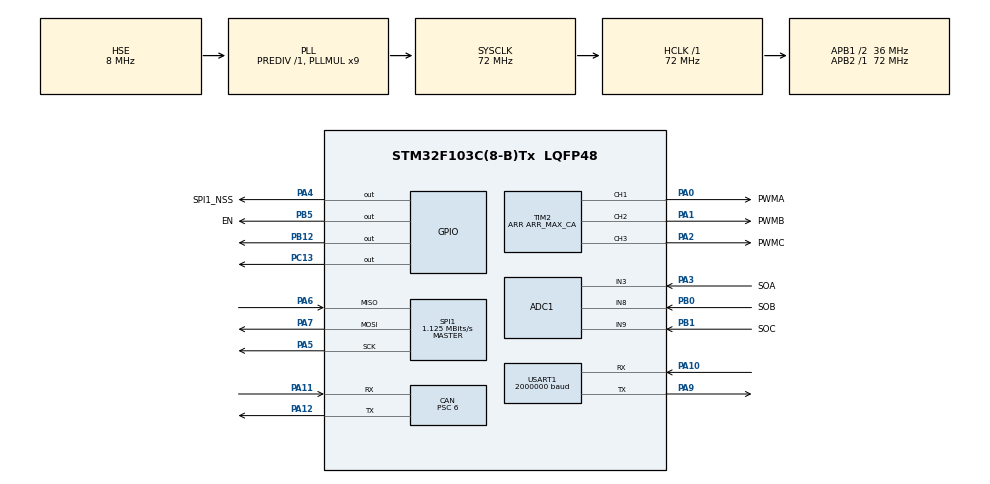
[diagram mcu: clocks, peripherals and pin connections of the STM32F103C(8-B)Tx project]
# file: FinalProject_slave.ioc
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ADC1.Channel-0\#ChannelRegularConversion=ADC_CHANNEL_3
ADC1.Channel-1\#ChannelRegularConversion=ADC_CHANNEL_8
ADC1.Channel-2\#ChannelRegularConversion=ADC_CHANNEL_9
ADC1.ContinuousConvMode=ENABLE
ADC1.NbrOfConversion=3
ADC1.NbrOfConversionFlag=1
ADC1.Rank-0\#ChannelRegularConversion=1
ADC1.Rank-1\#ChannelRegularConversion=2
ADC1.Rank-2\#ChannelRegularConversion=3
ADC1.SamplingTime-0\#ChannelRegularConversion=ADC_SAMPLETIME_239CYCLES_5
ADC1.SamplingTime-1\#ChannelRegularConversion=ADC_SAMPLETIME_239CYCLES_5
ADC1.SamplingTime-2\#ChannelRegularConversion=ADC_SAMPLETIME_239CYCLES_5
ADC1.master=1
CAN.ABOM=ENABLE
CAN.BS1=CAN_BS1_10TQ
CAN.CalculateBaudRate=499999
CAN.CalculateTimeBit=2000
CAN.CalculateTimeQuantum=166.66666666666669
CAN.NART=ENABLE
CAN.Prescaler=6
Dma.ADC1.0.Direction=DMA_PERIPH_TO_MEMORY
Dma.ADC1.0.Instance=DMA1_Channel1
Dma.ADC1.0.MemDataAlignment=DMA_MDATAALIGN_WORD
Dma.ADC1.0.MemInc=DMA_MINC_ENABLE
Dma.ADC1.0.Mode=DMA_CIRCULAR
Dma.ADC1.0.PeriphDataAlignment=DMA_PDATAALIGN_WORD
Dma.ADC1.0.PeriphInc=DMA_PINC_DISABLE
Dma.ADC1.0.Priority=DMA_PRIORITY_LOW
Dma.Request0=ADC1
Mcu.Family=STM32F1
Mcu.Name=STM32F103C(8-B)Tx
Mcu.Package=LQFP48
Mcu.UserConstants=ARR_MAX_CA,1440;ARR_MAX,2880
NVIC.CAN1_RX1_IRQn=true\:0\:0\:false\:false\:true\:true\:true\:true
NVIC.CAN1_SCE_IRQn=true\:0\:0\:false\:false\:true\:true\:true\:true
NVIC.DMA1_Channel1_IRQn=true\:0\:0\:false\:false\:true\:false\:true\:true
NVIC.PriorityGroup=NVIC_PRIORITYGROUP_4
NVIC.USB_HP_CAN1_TX_IRQn=true\:0\:0\:false\:false\:true\:true\:true\:true
NVIC.USB_LP_CAN1_RX0_IRQn=true\:0\:0\:false\:false\:true\:true\:true\:true
PA0-WKUP.GPIO_Label=PWMA
PA0-WKUP.Signal=S_TIM2_CH1_ETR
PA1.GPIO_Label=PWMB
PA1.Signal=S_TIM2_CH2
PA10.Mode=Asynchronous
PA10.Signal=USART1_RX
PA11.Mode=CAN_Activate
PA11.Signal=CAN_RX
PA12.Mode=CAN_Activate
PA12.Signal=CAN_TX
PA13.Mode=Serial_Wire
PA13.Signal=SYS_JTMS-SWDIO
PA14.Mode=Serial_Wire
PA14.Signal=SYS_JTCK-SWCLK
PA2.GPIO_Label=PWMC
PA2.Signal=S_TIM2_CH3
PA3.GPIO_Label=SOA
PA3.Signal=ADCx_IN3
PA4.GPIO_Label=SPI1_NSS
PA4.Signal=GPIO_Output
PA5.Mode=Full_Duplex_Master
PA5.Signal=SPI1_SCK
PA6.Mode=Full_Duplex_Master
PA6.Signal=SPI1_MISO
PA7.Mode=Full_Duplex_Master
PA7.Signal=SPI1_MOSI
PA9.Mode=Asynchronous
PA9.Signal=USART1_TX
PB0.GPIO_Label=SOB
PB0.Signal=ADCx_IN8
PB1.GPIO_Label=SOC
PB1.Signal=ADCx_IN9
PB12.Signal=GPIO_Output
PB5.GPIO_Label=EN
PB5.Signal=GPIO_Output
PC13-TAMPER-RTC.Signal=GPIO_Output
PD0-OSC_IN.Mode=HSE-External-Oscillator
PD0-OSC_IN.Signal=RCC_OSC_IN
PD1-OSC_OUT.Mode=HSE-External-Oscillator
PD1-OSC_OUT.Signal=RCC_OSC_OUT
ProjectManager.HeapSize=0x200
ProjectManager.StackSize=0x400
ProjectManager.TargetToolchain=STM32CubeIDE
RCC.ADCPresc=RCC_ADCPCLK2_DIV6
RCC.AHBFreq_Value=72000000
RCC.APB1CLKDivider=RCC_HCLK_DIV2
RCC.APB1Freq_Value=36000000
RCC.APB1TimFreq_Value=72000000
RCC.APB2Freq_Value=72000000
RCC.APB2TimFreq_Value=72000000
RCC.HCLKFreq_Value=72000000
RCC.PLLMUL=RCC_PLL_MUL9
RCC.PLLSourceVirtual=RCC_PLLSOURCE_HSE
RCC.SYSCLKFreq_VALUE=72000000
RCC.SYSCLKSource=RCC_SYSCLKSOURCE_PLLCLK
RCC.USBFreq_Value=72000000
SH.ADCx_IN3.0=ADC1_IN3,IN3
SH.ADCx_IN8.0=ADC1_IN8,IN8
SH.ADCx_IN9.0=ADC1_IN9,IN9
SH.S_TIM2_CH1_ETR.0=TIM2_CH1,PWM Generation1 CH1
SH.S_TIM2_CH2.0=TIM2_CH2,PWM Generation2 CH2
SH.S_TIM2_CH3.0=TIM2_CH3,PWM Generation3 CH3
SPI1.BaudRatePrescaler=SPI_BAUDRATEPRESCALER_64
SPI1.CLKPhase=SPI_PHASE_2EDGE
SPI1.CalculateBaudRate=1.125 MBits/s
SPI1.DataSize=SPI_DATASIZE_16BIT
SPI1.Direction=SPI_DIRECTION_2LINES
SPI1.Mode=SPI_MODE_MASTER
SPI1.VirtualType=VM_MASTER
TIM2.AutoReloadPreload=TIM_AUTORELOAD_PRELOAD_ENABLE
TIM2.Channel-PWM\ Generation1\ CH1=TIM_CHANNEL_1
TIM2.Channel-PWM\ Generation2\ CH2=TIM_CHANNEL_2
TIM2.Channel-PWM\ Generation3\ CH3=TIM_CHANNEL_3
TIM2.CounterMode=TIM_COUNTERMODE_CENTERALIGNED1
TIM2.Period=ARR_MAX_CA
TIM2.TIM_MasterOutputTrigger=TIM_TRGO_UPDATE
USART1.BaudRate=2000000
USART1.VirtualMode=VM_ASYNC
VP_TIM2_VS_ClockSourceINT.Mode=Internal
board=custom

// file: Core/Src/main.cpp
/* USER CODE BEGIN Header */
/**
 ******************************************************************************
 * @file           : main.c
 * @brief          : Main program body
 ******************************************************************************
 * @attention
 *
 * Copyright (c) 2021 STMicroelectronics.
 * All rights reserved.
 *
 * This software is licensed under terms that can be found in the LICENSE file
 * in the root directory of this software component.
 * If no LICENSE file comes with this software, it is provided AS-IS.
 *
 ******************************************************************************
 */
/* USER CODE END Header */
#include "main.h"

/* USER CODE BEGIN Includes */
#include <stdio.h>   // printf function
#include <stdlib.h>
#include "math.h"
#include "string.h"
#include "motor_param.h"

#include "simpleFOC.h"
simpleFOC simpleFOC;

/* USER CODE END Includes */

ADC_HandleTypeDef hadc1;
DMA_HandleTypeDef hdma_adc1;

CAN_HandleTypeDef hcan;

SPI_HandleTypeDef hspi1;

TIM_HandleTypeDef htim2;
TIM_HandleTypeDef htim4;

UART_HandleTypeDef huart1;

void SystemClock_Config(void);
static void MX_GPIO_Init(void);
static void MX_SPI1_Init(void);
static void MX_USART1_UART_Init(void);
static void MX_ADC1_Init(void);
static void MX_TIM2_Init(void);
static void MX_DMA_Init(void);
static void MX_CAN_Init(void);
static void MX_TIM4_Init(void);
/* USER CODE BEGIN PFP */

__STATIC_INLINE void DWT_Init(void); 						//checked
__STATIC_INLINE void delay_us(uint32_t us);				//dont use it
__STATIC_INLINE uint32_t micros(void);						//checked

//CAN function
void CAN_init_446();
void CAN_init_103();
void float2Bytes(float val, uint8_t *bytes_array);  		//checked
float Bytes2float(uint8_t *bytes_array);					//checked

//ADC Read
uint16_t getValueCH3();	//SOA								//dont use it
uint16_t getValueCH8();	//SOB								//dont use it
uint16_t getValueCH9();	//SOC								//dont use it

//Serial Write
int _write(int file, char *ptr, int len)
{
	/* Implement your write code here, this is used by puts and printf for example */
	int i = 0;
	for (i = 0; i < len; i++)
		ITM_SendChar((*ptr++));
	return len;
}

/* USER CODE END PFP */

/* USER CODE BEGIN 0 */

CAN_TxHeaderTypeDef TxHeader;
CAN_RxHeaderTypeDef RxHeader;

uint8_t TxData[8];
uint8_t RxData[8];

uint32_t TxMailbox;

int datacheck = 0;
int do_onetime = 0;
int do_sethome = 0;
int count = 0;

int num = 0;

float float_example = 0.1023445;
uint8_t bytes[4];
float float_final = 0.0f;
uint32_t CAN_error;
int count1, count2;

//CAN:103
void HAL_CAN_RxFifo1MsgPendingCallback(CAN_HandleTypeDef *hcan)
{

	if (HAL_CAN_GetRxMessage(hcan, CAN_FILTER_FIFO1, &RxHeader, RxData) != HAL_OK)
	{
		CAN_error = HAL_CAN_GetError(hcan);
		Error_Handler();
	}
	datacheck = 1;
	if ((RxHeader.StdId == 0x446) && (RxHeader.DLC == 4))
	{
		bytes[0] = RxData[0];
		bytes[1] = RxData[1];
		bytes[2] = RxData[2];
		bytes[3] = RxData[3];
		float_final = Bytes2float(bytes);
	}
	count2++;
}

//Debug Global variable
uint16_t pwmSin[] = { 1440, 1627, 1812, 1991, 2160, 2316, 2458, 2582, 2687,
		2770, 2830, 2867, 2880, 2867, 2830, 2770, 2687, 2582, 2458, 2316, 2160,
		1991, 1812, 1627, 1440, 1252, 1067, 888, 720, 563, 421, 297, 192, 109,
		49, 12, 0, 12, 49, 109, 192, 297, 421, 563, 719, 888, 1067, 1252, 1440 };
int currentStepA, currentStepB, currentStepC;

struct PhaseCurrent_s sensortest;
float Sx, dtx = 0;
uint16_t temp;
uint8_t tempA[2];
float a, b, c;
uint16_t value[3];

unsigned long t1 = 0, ts, t2 = 0, t3, t4 = 0, t5 = 0;
float loop_freq = 0;
uint8_t MSG[35] = { '\0' };
float Command_setpoint = 30.0;

/* USER CODE END 0 */

int main(void)
{

	/* MCU Configuration--------------------------------------------------------*/

	/* Reset of all peripherals, Initializes the Flash interface and the Systick. */

	HAL_Init();

	/* Configure the system clock */
	SystemClock_Config();

	/* Initialize all configured peripherals */
	MX_GPIO_Init();
	MX_SPI1_Init();
	MX_DMA_Init();
	MX_USART1_UART_Init();
	MX_ADC1_Init();
	MX_TIM2_Init();
	MX_CAN_Init();
	/* USER CODE BEGIN 2 */

	//Delay SETUP
	DWT_Init();
	//Timer Interrupt tim2,tim4
	HAL_TIM_Base_Start_IT(&htim4);

	//SPI SETUP
	simpleFOC.initSensors();

	//PWM SETUP
	HAL_TIM_PWM_Start(&htim2, TIM_CHANNEL_1);   //pinMode
	HAL_TIM_PWM_Start(&htim2, TIM_CHANNEL_2);	//pinMode
	HAL_TIM_PWM_Start(&htim2, TIM_CHANNEL_3);	//pinMode

	HAL_GPIO_WritePin(EN_GPIO_Port, EN_Pin, GPIO_PIN_SET);  // Enable
//	  HAL_GPIO_WritePin(EN_GPIO_Port, EN_Pin, GPIO_PIN_RESET);  // Disable

	//CAN SETUP ID: 0x103
	CAN_init_103();
	t1 = micros();
	t2 = micros();

	//FOC SETUP
	simpleFOC.initFOC(5.88972235, CW); 			// Do not search!! checked
//	simpleFOC.initFOC(NOT_SET, UNKNOWN); 		//Not yet calibrate find the best init value

	/* USER CODE END 2 */

	/* Infinite loop */
	/* USER CODE BEGIN WHILE */
	while (1)
	{
//		simpleFOC.move_velocity_openloop(5.0);
//

//		simpleFOC.move_angle(0);
//		simpleFOC.loopFOC();

		//Drive PWM
//	  writeDutyCycle3PWM(0.2, 0.5, 0.8);
//	HAL_GPIO_TogglePin(GPIOC, GPIO_PIN_13);
//	HAL_Delay(1000);

		//Sine PWM Testing  Checked
//	  currentStepA = currentStepA + 1;  //Add 1 to make the motor move step by step.
//	  currentStepB = currentStepA + 16; //add 120 deg of phase to whatever position StepA is.
//	  currentStepC = currentStepA + 32; //add 240 deg of phase to whatever position StepA is.
//	  currentStepA = currentStepA % 48; //I used remainder operation or modulo to "wrap" the values between 0 and 47
//	  currentStepB = currentStepB % 48;
//	  currentStepC = currentStepC % 48;
//	  __HAL_TIM_SET_COMPARE(&htim2, TIM_CHANNEL_1, pwmSin[currentStepA]);
//	  __HAL_TIM_SET_COMPARE(&htim2, TIM_CHANNEL_2, 0);
//	  __HAL_TIM_SET_COMPARE(&htim2, TIM_CHANNEL_2, pwmSin[currentStepB]);
//	  __HAL_TIM_SET_COMPARE(&htim2, TIM_CHANNEL_3, pwmSin[currentStepC]);
//	  HAL_Delay(2);

		//ADC multi-channel Testing Checked // 686us
//	  sprintf(MSG, "CH1=%d \t CH2=%d \t CH3=%d \r\n",adcResultDMA[0],adcResultDMA[1],adcResultDMA[2] );
//	  HAL_UART_Transmit(&huart1, MSG, sizeof(MSG), 100); 			// 259 us

		//current test
		//Phase A and B to Load
//	  sensortest = getPhaseCurrents();
//	  LPF_current_q_s.x = sensortest.b;
//	  LPF_current_q_s = LowPassFilter(LPF_current_q_s);
//	  sprintf(MSG, "%.3f,%.3f,%.3f \n",sensortest.a,sensortest.b,sensortest.c);
//	  HAL_UART_Transmit(&huart1, MSG, sizeof(MSG), 100);

		//Position sensor testing
//	    encoder.updateSensor();
	    simpleFOC.readEncoderOnly();
//		Sx = simpleFOC.Encoder.getSensorVelocity();
//	    getMechanicalVelocity;
//		electrical_angle = get_full_rotation_angle();
//		shaft_angle = shaftAngle();
//		shaft_velocity = shaftVelocity();
//		sprintf(MSG, "%.3f \n",shaft_velocity );
//		HAL_UART_Transmit(&huart1, MSG, sizeof(MSG), 100);

//=================Open-loop testing=================
//		move_velocity_openloop(30.0);
//		angleOpenloop(_PI_2);
//		HAL_Delay(3);

//  	  ts = micros()-t1;

//=================Closed-loop testing=================
		if(micros() - t1 >= 3000000)
	    {
	    	t1 = micros();
	    	Command_setpoint = Command_setpoint + _PI_2;
	    }
	  	if(Command_setpoint > _2PI)
	  		Command_setpoint = 0.0;
//		move_velocity(float_final); 									//136us --> 72us
//		loopFOC();  													//1190us --> 485us

//	  sprintf(MSG, "%.3f,%.3f \n",float_final,shaft_velocity);  		// 134us
//	  HAL_UART_Transmit(&huart1, MSG, sizeof(MSG), 100);			  	// 181us

//		Position control
	  	simpleFOC.loopFOC(); 														//1190us --> 495 us
	  	simpleFOC.move_angle(Command_setpoint); 												//161 us --> 112 us
//		sprintf(MSG, "%.3f,%.3f \n",Command_setpoint,shaft_angle);
//		HAL_UART_Transmit(&huart1, MSG, sizeof(MSG), 100);

		//Torque control
//		move_torque(5*(float_final-shaft_angle));
//		loopFOC(); 						//1190us --> 495 us
//		sprintf(MSG, "%.3f,%.3f,%.3f \n",0.0,current.d,current.q);
//		HAL_UART_Transmit(&huart1, MSG, sizeof(MSG), 100);
//		sprintf(MSG, "%.3f,%.3f,%.3f \n", 0.0, PID_current_q_s.output_prev, PID_current_d_s.output_prev);
//		HAL_UART_Transmit(&huart1, MSG, sizeof(MSG), 100);
		/* USER CODE END WHILE */

		/* USER CODE BEGIN 3 */

		//Toggle LED Test for uploading.
//		HAL_GPIO_TogglePin(GPIOC, GPIO_PIN_13);
//		HAL_Delay(1);
		// 259 us
//	  	sprintf(MSG, " %d \n", );
//	  	HAL_UART_Transmit(&huart1, MSG, sizeof(MSG), 100);

		//=================CAN BUS=================
//	if(HAL_CAN_GetTxMailboxesFreeLevel(&hcan) > 0 )
//	{
//		float2Bytes(shaft_angle, &bytes[0]);
//		TxData[0] = bytes[0];
//		TxData[1] = bytes[1];
//		TxData[2] = bytes[2];
//		TxData[3] = bytes[3];
//		if (HAL_CAN_AddTxMessage(&hcan, &TxHeader, TxData, &TxMailbox)!= HAL_OK)
//		{
//			CAN_error = HAL_CAN_GetError(&hcan);
//			Error_Handler();
//		}
//		HAL_Delay(1); // important !!!
//		datacheck = 0;
//		count1++;
//	}

		//============Haptic Control============
//		if (t2 - t1 >= 3000000)
//		{
//			do_sethome = 1;
//			move_haptic(float_final,passivity_gain);
//			loopFOC(); 						//1190us --> 495 us
//		}
//		else
//		{
//			//Set Home
//			if (do_sethome == 0)
//			{
//				t2 = micros();
//				move_angle(0.0f); 	//161 us --> 112 us
//				loopFOC(); 			//1190us --> 495 us
//			}
//		}
		t5 = micros() - t4;
		t4 = micros();
		loop_freq = 1.0 / (t5 * 1e-6);

	}
	/* USER CODE END 3 */
}

void SystemClock_Config(void) {
	RCC_OscInitTypeDef RCC_OscInitStruct = { 0 };
	RCC_ClkInitTypeDef RCC_ClkInitStruct = { 0 };
	RCC_PeriphCLKInitTypeDef PeriphClkInit = { 0 };

	/** Initializes the RCC Oscillators according to the specified parameters
	 * in the RCC_OscInitTypeDef structure.
	 */
	RCC_OscInitStruct.OscillatorType = RCC_OSCILLATORTYPE_HSE;
	RCC_OscInitStruct.HSEState = RCC_HSE_ON;
	RCC_OscInitStruct.HSEPredivValue = RCC_HSE_PREDIV_DIV1;
	RCC_OscInitStruct.HSIState = RCC_HSI_ON;
	RCC_OscInitStruct.PLL.PLLState = RCC_PLL_ON;
	RCC_OscInitStruct.PLL.PLLSource = RCC_PLLSOURCE_HSE;
	RCC_OscInitStruct.PLL.PLLMUL = RCC_PLL_MUL9;
	if (HAL_RCC_OscConfig(&RCC_OscInitStruct) != HAL_OK) {
		Error_Handler();
	}
	/** Initializes the CPU, AHB and APB buses clocks
	 */
	RCC_ClkInitStruct.ClockType = RCC_CLOCKTYPE_HCLK | RCC_CLOCKTYPE_SYSCLK
			| RCC_CLOCKTYPE_PCLK1 | RCC_CLOCKTYPE_PCLK2;
	RCC_ClkInitStruct.SYSCLKSource = RCC_SYSCLKSOURCE_PLLCLK;
	RCC_ClkInitStruct.AHBCLKDivider = RCC_SYSCLK_DIV1;
	RCC_ClkInitStruct.APB1CLKDivider = RCC_HCLK_DIV2;
	RCC_ClkInitStruct.APB2CLKDivider = RCC_HCLK_DIV1;

	if (HAL_RCC_ClockConfig(&RCC_ClkInitStruct, FLASH_LATENCY_2) != HAL_OK) {
		Error_Handler();
	}
	PeriphClkInit.PeriphClockSelection = RCC_PERIPHCLK_ADC;
	PeriphClkInit.AdcClockSelection = RCC_ADCPCLK2_DIV6;
	if (HAL_RCCEx_PeriphCLKConfig(&PeriphClkInit) != HAL_OK) {
		Error_Handler();
	}
}

static void MX_ADC1_Init(void) {

	ADC_ChannelConfTypeDef sConfig = { 0 };

	/** Common config
	 */
	hadc1.Instance = ADC1;
	hadc1.Init.ScanConvMode = ADC_SCAN_ENABLE;
	hadc1.Init.ContinuousConvMode = ENABLE;
	hadc1.Init.DiscontinuousConvMode = DISABLE;
	hadc1.Init.ExternalTrigConv = ADC_SOFTWARE_START;
	hadc1.Init.DataAlign = ADC_DATAALIGN_RIGHT;
	hadc1.Init.NbrOfConversion = 3;
	if (HAL_ADC_Init(&hadc1) != HAL_OK) {
		Error_Handler();
	}
	/** Configure Regular Channel
	 */
	sConfig.Channel = ADC_CHANNEL_3;
	sConfig.Rank = ADC_REGULAR_RANK_1;
	sConfig.SamplingTime = ADC_SAMPLETIME_239CYCLES_5;
	if (HAL_ADC_ConfigChannel(&hadc1, &sConfig) != HAL_OK) {
		Error_Handler();
	}
	/** Configure Regular Channel
	 */
	sConfig.Channel = ADC_CHANNEL_8;
	sConfig.Rank = ADC_REGULAR_RANK_2;
	if (HAL_ADC_ConfigChannel(&hadc1, &sConfig) != HAL_OK) {
		Error_Handler();
	}
	/** Configure Regular Channel
	 */
	sConfig.Channel = ADC_CHANNEL_9;
	sConfig.Rank = ADC_REGULAR_RANK_3;
	if (HAL_ADC_ConfigChannel(&hadc1, &sConfig) != HAL_OK) {
		Error_Handler();
	}
	/* USER CODE BEGIN ADC1_Init 2 */

	//DRV8323RH Unity Gain Bandwidth = 1MHz
	/* USER CODE END ADC1_Init 2 */

}

static void MX_CAN_Init(void) {

	hcan.Instance = CAN1;
	hcan.Init.Prescaler = 6;
	hcan.Init.Mode = CAN_MODE_NORMAL;
	hcan.Init.SyncJumpWidth = CAN_SJW_1TQ;
	hcan.Init.TimeSeg1 = CAN_BS1_10TQ;
	hcan.Init.TimeSeg2 = CAN_BS2_1TQ;
	hcan.Init.TimeTriggeredMode = DISABLE;
	hcan.Init.AutoBusOff = ENABLE;
	hcan.Init.AutoWakeUp = DISABLE;
	hcan.Init.AutoRetransmission = ENABLE;
	hcan.Init.ReceiveFifoLocked = DISABLE;
	hcan.Init.TransmitFifoPriority = DISABLE;
	if (HAL_CAN_Init(&hcan) != HAL_OK) {
		Error_Handler();
	}

}

static void MX_SPI1_Init(void) {

	/* SPI1 parameter configuration*/
	hspi1.Instance = SPI1;
	hspi1.Init.Mode = SPI_MODE_MASTER;
	hspi1.Init.Direction = SPI_DIRECTION_2LINES;
	hspi1.Init.DataSize = SPI_DATASIZE_16BIT;
	hspi1.Init.CLKPolarity = SPI_POLARITY_LOW;
	hspi1.Init.CLKPhase = SPI_PHASE_2EDGE;
	hspi1.Init.NSS = SPI_NSS_SOFT;
	hspi1.Init.BaudRatePrescaler = SPI_BAUDRATEPRESCALER_64;
	hspi1.Init.FirstBit = SPI_FIRSTBIT_MSB;
	hspi1.Init.TIMode = SPI_TIMODE_DISABLE;
	hspi1.Init.CRCCalculation = SPI_CRCCALCULATION_DISABLE;
	hspi1.Init.CRCPolynomial = 10;
	if (HAL_SPI_Init(&hspi1) != HAL_OK) {
		Error_Handler();
	}

}

static void MX_TIM2_Init(void) {

	TIM_ClockConfigTypeDef sClockSourceConfig = { 0 };
	TIM_MasterConfigTypeDef sMasterConfig = { 0 };
	TIM_OC_InitTypeDef sConfigOC = { 0 };

	htim2.Instance = TIM2;
	htim2.Init.Prescaler = 0;
	htim2.Init.CounterMode = TIM_COUNTERMODE_CENTERALIGNED1;
	htim2.Init.Period = ARR_MAX_CA;
	htim2.Init.ClockDivision = TIM_CLOCKDIVISION_DIV1;
	htim2.Init.AutoReloadPreload = TIM_AUTORELOAD_PRELOAD_ENABLE;
	if (HAL_TIM_Base_Init(&htim2) != HAL_OK) {
		Error_Handler();
	}
	sClockSourceConfig.ClockSource = TIM_CLOCKSOURCE_INTERNAL;
	if (HAL_TIM_ConfigClockSource(&htim2, &sClockSourceConfig) != HAL_OK) {
		Error_Handler();
	}
	if (HAL_TIM_PWM_Init(&htim2) != HAL_OK) {
		Error_Handler();
	}
	sMasterConfig.MasterOutputTrigger = TIM_TRGO_UPDATE;
	sMasterConfig.MasterSlaveMode = TIM_MASTERSLAVEMODE_DISABLE;
	if (HAL_TIMEx_MasterConfigSynchronization(&htim2, &sMasterConfig)
			!= HAL_OK) {
		Error_Handler();
	}
	sConfigOC.OCMode = TIM_OCMODE_PWM1;
	sConfigOC.Pulse = 0;
	sConfigOC.OCPolarity = TIM_OCPOLARITY_HIGH;
	sConfigOC.OCFastMode = TIM_OCFAST_DISABLE;
	if (HAL_TIM_PWM_ConfigChannel(&htim2, &sConfigOC, TIM_CHANNEL_1)
			!= HAL_OK) {
		Error_Handler();
	}
	if (HAL_TIM_PWM_ConfigChannel(&htim2, &sConfigOC, TIM_CHANNEL_2)
			!= HAL_OK) {
		Error_Handler();
	}
	if (HAL_TIM_PWM_ConfigChannel(&htim2, &sConfigOC, TIM_CHANNEL_3)
			!= HAL_OK) {
		Error_Handler();
	}
	HAL_TIM_MspPostInit(&htim2);

}

static void MX_USART1_UART_Init(void) {

	huart1.Instance = USART1;
	huart1.Init.BaudRate = 2000000;
	huart1.Init.WordLength = UART_WORDLENGTH_8B;
	huart1.Init.StopBits = UART_STOPBITS_1;
	huart1.Init.Parity = UART_PARITY_NONE;
	huart1.Init.Mode = UART_MODE_TX_RX;
	huart1.Init.HwFlowCtl = UART_HWCONTROL_NONE;
	huart1.Init.OverSampling = UART_OVERSAMPLING_16;
	if (HAL_UART_Init(&huart1) != HAL_OK) {
		Error_Handler();
	}

}

static void MX_DMA_Init(void) {

	/* DMA controller clock enable */
	__HAL_RCC_DMA1_CLK_ENABLE();

	/* DMA interrupt init */
	/* DMA1_Channel1_IRQn interrupt configuration */
	HAL_NVIC_SetPriority(DMA1_Channel1_IRQn, 0, 0);
	HAL_NVIC_EnableIRQ(DMA1_Channel1_IRQn);

}

static void MX_GPIO_Init(void) {
	GPIO_InitTypeDef GPIO_InitStruct = { 0 };

	/* GPIO Ports Clock Enable */
	__HAL_RCC_GPIOC_CLK_ENABLE();
	__HAL_RCC_GPIOD_CLK_ENABLE();
	__HAL_RCC_GPIOA_CLK_ENABLE();
	__HAL_RCC_GPIOB_CLK_ENABLE();

	/*Configure GPIO pin Output Level */
	HAL_GPIO_WritePin(GPIOC, GPIO_PIN_13, GPIO_PIN_RESET);

	/*Configure GPIO pin Output Level */
	HAL_GPIO_WritePin(SPI1_NSS_GPIO_Port, SPI1_NSS_Pin, GPIO_PIN_RESET);

	/*Configure GPIO pin Output Level */
	HAL_GPIO_WritePin(GPIOB, GPIO_PIN_12 | EN_Pin, GPIO_PIN_RESET);

	/*Configure GPIO pin : PC13 */
	GPIO_InitStruct.Pin = GPIO_PIN_13;
	GPIO_InitStruct.Mode = GPIO_MODE_OUTPUT_PP;
	GPIO_InitStruct.Pull = GPIO_NOPULL;
	GPIO_InitStruct.Speed = GPIO_SPEED_FREQ_LOW;
	HAL_GPIO_Init(GPIOC, &GPIO_InitStruct);

	/*Configure GPIO pin : SPI1_NSS_Pin */
	GPIO_InitStruct.Pin = SPI1_NSS_Pin;
	GPIO_InitStruct.Mode = GPIO_MODE_OUTPUT_PP;
	GPIO_InitStruct.Pull = GPIO_NOPULL;
	GPIO_InitStruct.Speed = GPIO_SPEED_FREQ_LOW;
	HAL_GPIO_Init(SPI1_NSS_GPIO_Port, &GPIO_InitStruct);

	/*Configure GPIO pins : PB12 EN_Pin */
	GPIO_InitStruct.Pin = GPIO_PIN_12 | EN_Pin;
	GPIO_InitStruct.Mode = GPIO_MODE_OUTPUT_PP;
	GPIO_InitStruct.Pull = GPIO_NOPULL;
	GPIO_InitStruct.Speed = GPIO_SPEED_FREQ_LOW;
	HAL_GPIO_Init(GPIOB, &GPIO_InitStruct);

}

/* USER CODE BEGIN 4 */

//Delay function
__STATIC_INLINE void DWT_Init(void) {
	CoreDebug->DEMCR |= CoreDebug_DEMCR_TRCENA_Msk;
	DWT->CTRL |= DWT_CTRL_CYCCNTENA_Msk;  // Data watchpoint trigger(DWT)
}

__STATIC_INLINE void delay_us(uint32_t us) {
	uint32_t us_count_tic = us * (SystemCoreClock / 1000000U);
	DWT->CYCCNT = 0U;
	while (DWT->CYCCNT < us_count_tic)
		;
}

__STATIC_INLINE uint32_t micros(void) {
	return DWT->CYCCNT / (SystemCoreClock / 1000000U);
}

//Timer interrupt routine
void HAL_TIM_PeriodElapsedCallback(TIM_HandleTypeDef *htim) {
//	//Interrupt Timer2
//	if(htim == &htim2)
//	{
//		HAL_GPIO_TogglePin(GPIOC, GPIO_PIN_13);
//	}
//
//	//Interrupt Timer4
	if (htim == &htim4) //interrupt every 1ms
			{
//		HAL_GPIO_TogglePin(GPIOC, GPIO_PIN_13);

	}
}

//CAN function
void CAN_init_446() {
	if (HAL_CAN_Start(&hcan) != HAL_OK) {
		Error_Handler();
	}

	CAN_FilterTypeDef canfilterconfig;
	canfilterconfig.FilterActivation = CAN_FILTER_ENABLE;
	canfilterconfig.FilterBank = 0; // which filter bank to use from the assigned ones
	canfilterconfig.FilterFIFOAssignment = CAN_FILTER_FIFO0;
	canfilterconfig.FilterIdHigh = 0x103 << 5;
	canfilterconfig.FilterIdLow = 0x0000;
	canfilterconfig.FilterMaskIdHigh = 0x103 << 5;
	canfilterconfig.FilterMaskIdLow = 0x0000;
	canfilterconfig.FilterMode = CAN_FILTERMODE_IDMASK;
	canfilterconfig.FilterScale = CAN_FILTERSCALE_32BIT;
	canfilterconfig.SlaveStartFilterBank = 14; // doesn't matter in single can controllers

	if (HAL_CAN_ConfigFilter(&hcan, &canfilterconfig) != HAL_OK) {
		Error_Handler();
	}

	HAL_CAN_ActivateNotification(&hcan, CAN_IT_RX_FIFO0_MSG_PENDING);

	TxHeader.DLC = 4;  // data length
	TxHeader.IDE = CAN_ID_STD;
	TxHeader.RTR = CAN_RTR_DATA;
	TxHeader.StdId = 0x446;  // ID
}
void CAN_init_103() {
	if (HAL_CAN_Start(&hcan) != HAL_OK) {
		Error_Handler();
	}

	CAN_FilterTypeDef canfilterconfig;
	canfilterconfig.FilterActivation = CAN_FILTER_ENABLE;
	canfilterconfig.FilterBank = 0; // which filter bank to use from the assigned ones
	canfilterconfig.FilterFIFOAssignment = CAN_FILTER_FIFO1;
	canfilterconfig.FilterIdHigh = 0x446 << 5;
	canfilterconfig.FilterIdLow = 0x0000;
	canfilterconfig.FilterMaskIdHigh = 0x446 << 5;
	canfilterconfig.FilterMaskIdLow = 0x0000;
	canfilterconfig.FilterMode = CAN_FILTERMODE_IDMASK;
	canfilterconfig.FilterScale = CAN_FILTERSCALE_32BIT;
	canfilterconfig.SlaveStartFilterBank = 10; // doesn't matter in single can controllers
	if (HAL_CAN_ConfigFilter(&hcan, &canfilterconfig) != HAL_OK) {
		Error_Handler();
	}

	HAL_CAN_ActivateNotification(&hcan, CAN_IT_RX_FIFO1_MSG_PENDING);

	TxHeader.DLC = 4;  // data length
	TxHeader.IDE = CAN_ID_STD;
	TxHeader.RTR = CAN_RTR_DATA;
	TxHeader.StdId = 0x103;  // ID
}
void float2Bytes(float val, uint8_t *bytes_array) {
	// Create union of shared memory space
	union {
		float float_variable;
		uint8_t temp_array[4];
	} u;
	// Overite bytes of union with float variable
	u.float_variable = val;
	// Assign bytes to input array
	memcpy(bytes_array, u.temp_array, 4);
}

float Bytes2float(uint8_t *bytes_array) {
	uint8_t temp_array[4] = { bytes_array[0], bytes_array[1], bytes_array[2],
			bytes_array[3] };
	float f = *(float*) &temp_array;
	return f;
}

//ADC Read
void ADC_Select_CH3(void) {
	ADC_ChannelConfTypeDef sConfig = { 0 };
	/** Configure for the selected ADC regular channel its corresponding rank in the sequencer and its sample time.
	 */
	sConfig.Channel = ADC_CHANNEL_3;
	sConfig.Rank = 1;
	sConfig.SamplingTime = ADC_SAMPLETIME_13CYCLES_5;
	if (HAL_ADC_ConfigChannel(&hadc1, &sConfig) != HAL_OK) {
		Error_Handler();
	}
}

void ADC_Select_CH8(void) {
	ADC_ChannelConfTypeDef sConfig = { 0 };
	/** Configure for the selected ADC regular channel its corresponding rank in the sequencer and its sample time.
	 */
	sConfig.Channel = ADC_CHANNEL_8;
	sConfig.Rank = 1;
	sConfig.SamplingTime = ADC_SAMPLETIME_13CYCLES_5;
	if (HAL_ADC_ConfigChannel(&hadc1, &sConfig) != HAL_OK) {
		Error_Handler();
	}
}

void ADC_Select_CH9(void) {
	ADC_ChannelConfTypeDef sConfig = { 0 };
	/** Configure for the selected ADC regular channel its corresponding rank in the sequencer and its sample time.
	 */
	sConfig.Channel = ADC_CHANNEL_9;
	sConfig.Rank = 1;
	sConfig.SamplingTime = ADC_SAMPLETIME_13CYCLES_5;
	if (HAL_ADC_ConfigChannel(&hadc1, &sConfig) != HAL_OK) {
		Error_Handler();
	}
}

uint16_t getValueCH3() {
	uint16_t val;
	ADC_Select_CH3();
	HAL_ADC_Start(&hadc1);
	HAL_ADC_PollForConversion(&hadc1, 1000);
	val = HAL_ADC_GetValue(&hadc1);
	HAL_ADC_Stop(&hadc1);
	return val;
}

uint16_t getValueCH8() {
	uint16_t val;
	ADC_Select_CH8();
	HAL_ADC_Start(&hadc1);
	HAL_ADC_PollForConversion(&hadc1, 1000);
	val = HAL_ADC_GetValue(&hadc1);
	HAL_ADC_Stop(&hadc1);
	return val;
}

uint16_t getValueCH9() {
	uint16_t val;
	ADC_Select_CH9();
	HAL_ADC_Start(&hadc1);
	HAL_ADC_PollForConversion(&hadc1, 1000);
	val = HAL_ADC_GetValue(&hadc1);
	HAL_ADC_Stop(&hadc1);
	return val;
}

// Iterative function running outer loop of the FOC algorithm
// Behavior of this function is determined by the motor.controller variable
// It runs either angle, velocity or torque loop
// - needs to be called iteratively it is asynchronous function
// - if target is not set it uses motor.target value
// void move_velocity(float new_target)
// {
// 	// get angular velocity
// 	shaft_velocity = shaftVelocity(); // read value even if motor is disabled to keep the monitoring updated

// 	if (_isset(new_target))
// 		target = new_target;

// 	// velocity set point
// 	shaft_velocity_sp = target;

// 	// calculate the torque command
// 	PID_velocity_s.error = shaft_velocity_sp - shaft_velocity;
// 	PID_velocity_s = PID(PID_velocity_s);
// 	current_sp = PID_velocity_s.output_prev;
// 	// if current/foc_current torque control
// 	// if torque controlled through voltage control
//  voltage.q = current_sp*phase_resistance;
//  voltage.d = 0;

// }

//void move_torque(float new_target) {
////      if(!_isset(phase_resistance))
////    	  voltage.q = new_target;
////      else
////    	  voltage.q =  new_target*phase_resistance;
////    	  voltage.d = 0;
//	current_sp = new_target * phase_resistance; // if current/foc_current torque control
//}

/* USER CODE END 4 */

void Error_Handler(void) {
	__disable_irq();
	while (1) {
	}
}
